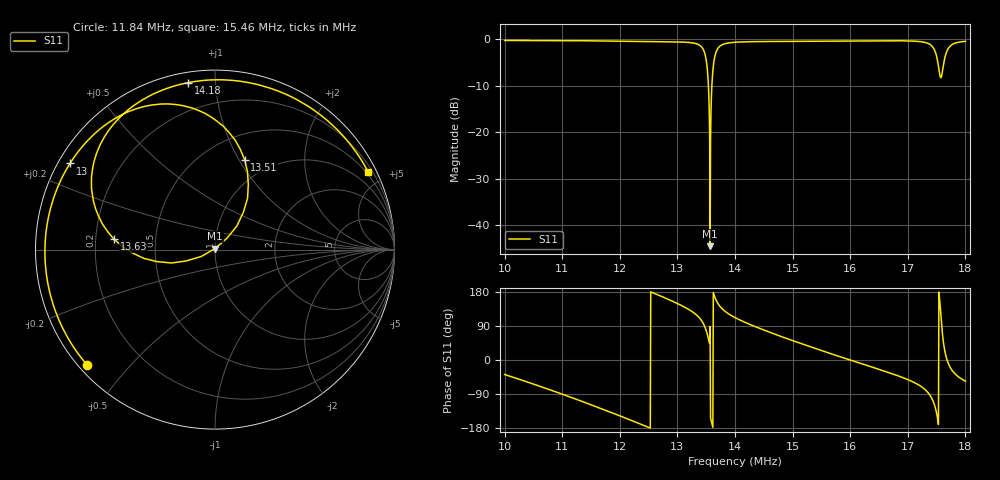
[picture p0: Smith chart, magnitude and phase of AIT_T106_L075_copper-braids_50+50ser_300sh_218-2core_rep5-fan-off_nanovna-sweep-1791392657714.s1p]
! NanoVNA Web complex sweep
! Processing: unaveraged complex samples; linear segment spacing; no smoothing
# Hz S RI R 50
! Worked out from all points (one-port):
!   1010 points, 10 MHz to 18 MHz, reference 50 ohm
!   lowest |S11| = -44.5 dB at 13.57 MHz (marker M1), VSWR 1.01, Z = 50 + j0.593 ohm
!   |S11| at or under -10 dB: 13.53849 MHz to 13.59849 MHz (60 kHz wide, 0.442 % of centre)
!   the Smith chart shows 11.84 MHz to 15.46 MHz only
!   S11 on the Smith chart (normalised r, x): 11.84 MHz: 0.02, -0.39; 13 MHz: 0.03, +0.27; 13.51 MHz: 0.76, +1.06; 13.63 MHz: 0.28, +0.05; 14.18 MHz: 0.05, +0.85; 15.46 MHz: 0.41, +4.15
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1e7  0.7655 -0.6033
1.100698e7  -0.00875 -0.9717
1.183953e7  -0.7105 -0.6449
1.200604e7  -0.808 -0.5118
1.252142e7  -0.9477 -0.0133
1.299716e7  -0.8079 0.4802
1.300509e7  -0.8028 0.4882
1.339361e7  -0.2829 0.8114
1.351255e7  0.1655 0.5
1.353633e7  0.1814 0.2869
1.356805e7  0.000149 0.00593
1.359977e7  -0.3231 -0.0669
1.363148e7  -0.5622 0.057
1.37742e7  -0.625 0.6119
1.400414e7  -0.3445 0.8664
1.417858e7  -0.1493 0.9302
1.50032e7  0.5997 0.7409
1.546308e7  0.8537 0.4318
1.600225e7  0.9614 -0.00411
1.700131e7  0.597 -0.7573
1.724711e7  0.2977 -0.8937
1.740569e7  -0.121 -0.8568
1.752462e7  -0.5253 -0.1756
1.760391e7  0.1875 0.4212
1.765148e7  0.6325 0.2022
1.770699e7  0.7926 -0.1417
1.782592e7  0.7256 -0.5556
1.800036e7  0.538 -0.7867
